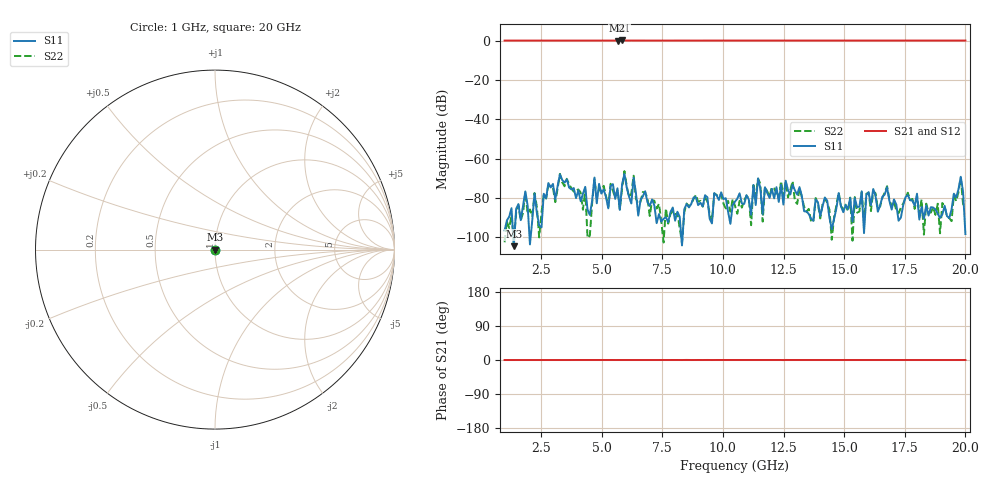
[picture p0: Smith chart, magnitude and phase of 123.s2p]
! Micran, Research & Production Company
! Date: 2025-04-17 13:53:53
! Frequency	S11	S21	S12	S22
# Hz S dB R 50
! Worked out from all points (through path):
!   201 points, 1 GHz to 20 GHz, reference 50 ohm
!   highest |S21| = 0.05 dB at 5.845 GHz (marker M1); lowest = 0.0 dB at 5.655 GHz (marker M2)
!   lowest |S11| = -104.5 dB at 1.38 GHz (marker M3), VSWR 1.00, Z = 50 + j0.000431 ohm
!   |S11| at or under -10 dB: start of sweep to end of sweep
!   |S22| runs from -102.9 to -66.4 dB; largest |S21 - S12| = 0.014
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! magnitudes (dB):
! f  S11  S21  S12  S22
! 1 GHz  -96.5  0.0  0.0  -102.5
! 1.38 GHz  -104.5  0.0  0.0  -102.9
! 3.09 GHz  -80.7  0.0  0.0  -82.1
! 3.28 GHz  -68.0  0.0  -0.1  -67.7
! 4.23 GHz  -77.8  0.0  0.0  -86.0
! 5.655 GHz  -75.1  0.0  0.0  -75.6
! 5.845 GHz  -73.1  0.0  0.0  -75.0
! 5.94 GHz  -67.8  0.0  0.0  -66.4
! 6.13 GHz  -79.3  0.0  0.0  -79.4
! 6.32 GHz  -69.7  0.0  0.1  -68.7
! 6.415 GHz  -77.4  0.0  0.0  -80.4
! 7.365 GHz  -88.2  0.0  0.0  -83.0
! 10.5 GHz  -81.9  0.0  0.0  -84.0
! 11.36 GHz  -83.6  0.0  0.0  -79.3
! 11.45 GHz  -70.1  0.0  0.0  -70.1
! 11.64 GHz  -88.1  0.0  0.0  -92.0
! 12.59 GHz  -71.2  0.0  0.0  -71.7
! 13.73 GHz  -91.7  0.0  0.0  -92.1
! 16.86 GHz  -81.4  0.0  0.0  -80.7
! 19.62 GHz  -79.8  0.0  0.0  -81.6
! 19.81 GHz  -69.2  0.0  0.0  -69.8
! 20 GHz  -98.3  0.0  0.0  -81.4
